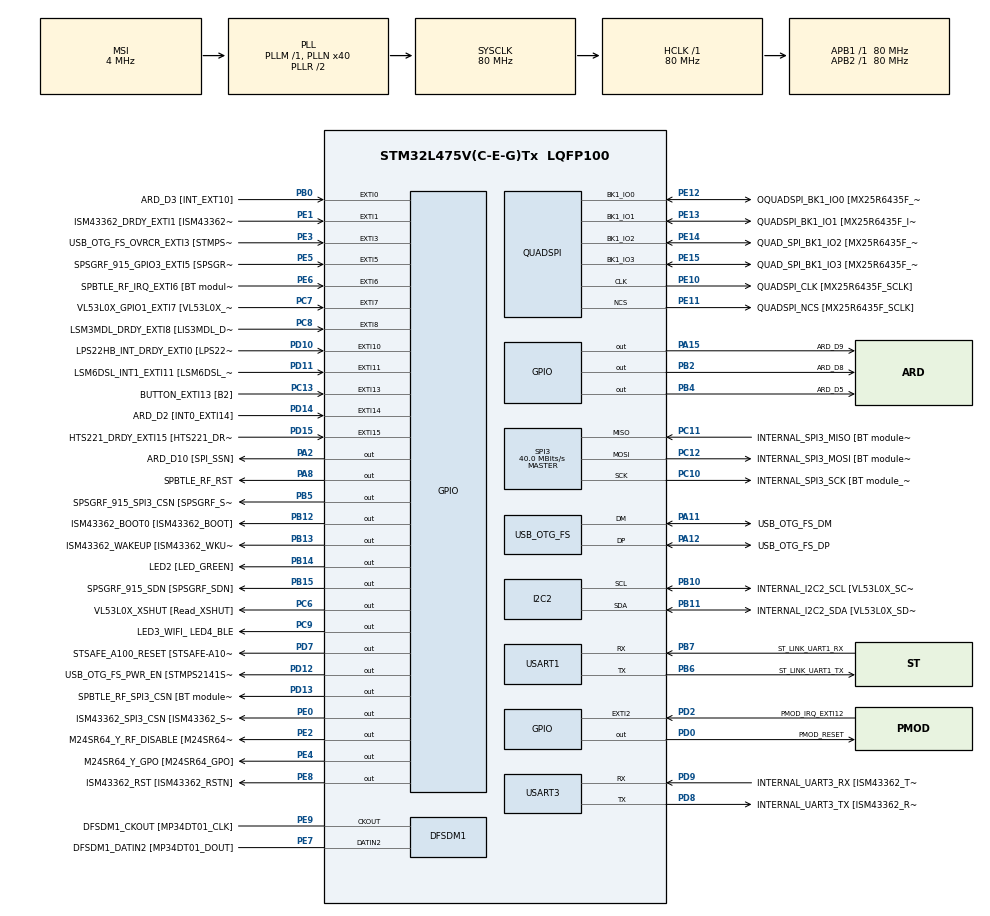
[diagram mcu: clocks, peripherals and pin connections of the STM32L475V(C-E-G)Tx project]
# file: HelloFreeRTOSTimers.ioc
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FREERTOS.Tasks01=defaultTask,0,128,StartDefaultTask,Default,NULL,Dynamic,NULL,NULL;myTask02,0,128,StartTask02,Default,NULL,Dynamic,NULL,NULL
FREERTOS.configUSE_NEWLIB_REENTRANT=1
FREERTOS.configUSE_TIMERS=1
Mcu.Family=STM32L4
Mcu.Name=STM32L475V(C-E-G)Tx
Mcu.Package=LQFP100
NVIC.EXTI15_10_IRQn=true\:5\:0\:false\:false\:true\:true\:true\:true
NVIC.EXTI9_5_IRQn=true\:5\:0\:false\:false\:true\:true\:true\:true
NVIC.PriorityGroup=NVIC_PRIORITYGROUP_4
NVIC.TIM1_UP_TIM16_IRQn=true\:15\:0\:false\:false\:true\:false\:false\:true
NVIC.TimeBase=TIM1_UP_TIM16_IRQn
NVIC.TimeBaseIP=TIM1
PA0.GPIO_Label=ARD_D1 [UART4_TX]
PA0.Signal=UART4_TX
PA1.GPIO_Label=ARD_D0 [UART4_RX]
PA1.Signal=UART4_RX
PA10.GPIO_Label=USB_OTG_FS_ID
PA10.Signal=USB_OTG_FS_ID
PA11.GPIO_Label=USB_OTG_FS_DM
PA11.Mode=Device_Only
PA11.Signal=USB_OTG_FS_DM
PA12.GPIO_Label=USB_OTG_FS_DP
PA12.Mode=Device_Only
PA12.Signal=USB_OTG_FS_DP
PA13\ (JTMS-SWDIO).GPIO_Label=SYS_JTMS_SWDIO
PA13\ (JTMS-SWDIO).Mode=Serial_Wire
PA13\ (JTMS-SWDIO).Signal=SYS_JTMS-SWDIO
PA14\ (JTCK-SWCLK).GPIO_Label=SYS_JTCK_SWCLK
PA14\ (JTCK-SWCLK).Mode=Serial_Wire
PA14\ (JTCK-SWCLK).Signal=SYS_JTCK-SWCLK
PA15\ (JTDI).GPIO_Label=ARD_D9
PA15\ (JTDI).Signal=GPIO_Output
PA2.GPIO_Label=ARD_D10 [SPI_SSN]
PA2.Signal=GPIO_Output
PA3.GPIO_Label=ARD_D4
PA3.Signal=S_TIM2_CH4
PA4.GPIO_Label=ARD_D7
PA4.Signal=ADCx_IN9
PA5.GPIO_Label=ARD_D13 [SPI1_SCK]
PA5.Signal=SPI1_SCK
PA6.GPIO_Label=ARD_D12 [SPI1_MISO]
PA6.Signal=SPI1_MISO
PA7.GPIO_Label=ARD_D11 [SPI1_MOSI]
PA7.Signal=SPI1_MOSI
PA8.GPIO_Label=SPBTLE_RF_RST
PA8.Signal=GPIO_Output
PA9.GPIO_Label=USB_OTG_FS_VBUS [STMPS2141STR_OUT]
PA9.Signal=USB_OTG_FS_VBUS
PB0.GPIO_Label=ARD_D3 [INT_EXT10]
PB0.Signal=GPXTI0
PB1.GPIO_Label=ARD_D6 [ADC1_IN6]
PB1.Signal=ADCx_IN16
PB10.GPIO_Label=INTERNAL_I2C2_SCL [VL53L0X_SCL]
PB10.GPIO_Pu=GPIO_PULLUP
PB10.Mode=I2C
PB10.Signal=I2C2_SCL
PB11.GPIO_Label=INTERNAL_I2C2_SDA [VL53L0X_SDA]
PB11.GPIO_Pu=GPIO_PULLUP
PB11.Mode=I2C
PB11.Signal=I2C2_SDA
PB12.GPIO_Label=ISM43362_BOOT0 [ISM43362_BOOT]
PB12.Signal=GPIO_Output
PB13.GPIO_Label=ISM43362_WAKEUP [ISM43362_WKUP]
PB13.Signal=GPIO_Output
PB14.GPIO_Label=LED2 [LED_GREEN]
PB14.Signal=GPIO_Output
PB15.GPIO_Label=SPSGRF_915_SDN [SPSGRF_SDN]
PB15.Signal=GPIO_Output
PB2.GPIO_Label=ARD_D8
PB2.Signal=GPIO_Output
PB3\ (JTDO-TRACESWO).GPIO_Label=SYS_JTD0_SWO
PB3\ (JTDO-TRACESWO).Signal=SYS_JTDO-SWO
PB4\ (NJTRST).GPIO_Label=ARD_D5
PB4\ (NJTRST).Signal=GPIO_Output
PB5.GPIO_Label=SPSGRF_915_SPI3_CSN [SPSGRF_SPI_CS]
PB5.PinState=GPIO_PIN_SET
PB5.Signal=GPIO_Output
PB6.GPIO_Label=ST_LINK_UART1_TX
PB6.Mode=Asynchronous
PB6.Signal=USART1_TX
PB7.GPIO_Label=ST_LINK_UART1_RX
PB7.Mode=Asynchronous
PB7.Signal=USART1_RX
PB8.GPIO_Label=ARD_D15 [I2C1_SCL]
PB8.Signal=I2C1_SCL
PB9.GPIO_Label=ARD_D14 [I2C1_SDA]
PB9.Signal=I2C1_SDA
PC0.GPIO_Label=ARD_A5 [ADC]
PC0.Signal=ADCx_IN1
PC1.GPIO_Label=ARD_A4 [ADC]
PC1.Signal=ADCx_IN2
PC10.GPIO_Label=INTERNAL_SPI3_SCK [BT module_SPI_SCLK] [ISM43362_SCK]
PC10.Mode=Full_Duplex_Master
PC10.Signal=SPI3_SCK
PC11.GPIO_Label=INTERNAL_SPI3_MISO [BT module_SPI_MISO] [ISM43362_MISO]
PC11.Mode=Full_Duplex_Master
PC11.Signal=SPI3_MISO
PC12.GPIO_Label=INTERNAL_SPI3_MOSI [BT module_SPI_MOSI] [ISM43362_MOSI]
PC12.Mode=Full_Duplex_Master
PC12.Signal=SPI3_MOSI
PC13.GPIO_Label=BUTTON_EXTI13 [B2]
PC13.GPIO_ModeDefaultEXTI=GPIO_MODE_IT_FALLING
PC13.Signal=GPXTI13
PC14-OSC32_IN\ (PC14).Mode=LSE-External-Oscillator
PC14-OSC32_IN\ (PC14).Signal=RCC_OSC32_IN
PC15-OSC32_OUT\ (PC15).Mode=LSE-External-Oscillator
PC15-OSC32_OUT\ (PC15).Signal=RCC_OSC32_OUT
PC2.GPIO_Label=ARD_A3 [ADC]
PC2.Signal=ADCx_IN3
PC3.GPIO_Label=ARD_A2 [ADC]
PC3.Signal=ADCx_IN4
PC4.GPIO_Label=ARD_A1 [ADC]
PC4.Signal=ADCx_IN13
PC5.GPIO_Label=ARD_A0 [ADC]
PC5.Signal=ADCx_IN14
PC6.GPIO_Label=VL53L0X_XSHUT [Read_XSHUT]
PC6.Signal=GPIO_Output
PC7.GPIO_Label=VL53L0X_GPIO1_EXTI7 [VL53L0X_GPIO1]
PC7.Signal=GPXTI7
PC8.GPIO_Label=LSM3MDL_DRDY_EXTI8 [LIS3MDL_DRDY]
PC8.Signal=GPXTI8
PC9.GPIO_Label=LED3_WIFI_ LED4_BLE
PC9.Signal=GPIO_Output
PD0.GPIO_Label=PMOD_RESET
PD0.Signal=GPIO_Output
PD1.GPIO_Label=PMOD_SPI2_SCK
PD1.Signal=SPI2_SCK
PD10.GPIO_Label=LPS22HB_INT_DRDY_EXTI0 [LPS22HB_INT_DRDY] 
PD10.Signal=GPXTI10
PD11.GPIO_Label=LSM6DSL_INT1_EXTI11 [LSM6DSL_INT1]
PD11.Signal=GPXTI11
PD12.GPIO_Label=USB_OTG_FS_PWR_EN [STMPS2141STR_EN]
PD12.Signal=GPIO_Output
PD13.GPIO_Label=SPBTLE_RF_SPI3_CSN [BT module_SPI_CS]
PD13.PinState=GPIO_PIN_SET
PD13.Signal=GPIO_Output
PD14.GPIO_Label=ARD_D2 [INT0_EXTI14]
PD14.Signal=GPXTI14
PD15.GPIO_Label=HTS221_DRDY_EXTI15 [HTS221_DRDY]
PD15.Signal=GPXTI15
PD2.GPIO_Label=PMOD_IRQ_EXTI12
PD2.Signal=GPXTI2
PD3.GPIO_Label=PMOD_UART2_CTS
PD3.Signal=USART2_CTS
PD4.GPIO_Label=PMOD_UART2_RTS
PD4.Signal=USART2_RTS
PD5.GPIO_Label=PMOD_UART2_TX
PD5.Signal=USART2_TX
PD6.GPIO_Label=PMOD_UART2_RX
PD6.Signal=USART2_RX
PD7.GPIO_Label=STSAFE_A100_RESET [STSAFE-A100_RESET]
PD7.Signal=GPIO_Output
PD8.GPIO_Label=INTERNAL_UART3_TX [ISM43362_RX]
PD8.Mode=Asynchronous
PD8.Signal=USART3_TX
PD9.GPIO_Label=INTERNAL_UART3_RX [ISM43362_TX]
PD9.Mode=Asynchronous
PD9.Signal=USART3_RX
PE0.GPIO_Label=ISM43362_SPI3_CSN [ISM43362_SSN]
PE0.PinState=GPIO_PIN_SET
PE0.Signal=GPIO_Output
PE1.GPIO_Label=ISM43362_DRDY_EXTI1 [ISM43362_DATARDY]
PE1.Signal=GPXTI1
PE10.GPIO_Label=QUADSPI_CLK [MX25R6435F_SCLK]
PE10.Mode=Single Bank
PE10.Signal=QUADSPI_CLK
PE11.GPIO_Label=QUADSPI_NCS [MX25R6435F_SCLK]
PE11.Mode=Single Bank
PE11.Signal=QUADSPI_NCS
PE12.GPIO_Label=OQUADSPI_BK1_IO0 [MX25R6435F_IO0]
PE12.Mode=Single Bank
PE12.Signal=QUADSPI_BK1_IO0
PE13.GPIO_Label=QUADSPI_BK1_IO1 [MX25R6435F_IO1]
PE13.Mode=Single Bank
PE13.Signal=QUADSPI_BK1_IO1
PE14.GPIO_Label=QUAD_SPI_BK1_IO2 [MX25R6435F_IO2]
PE14.Mode=Single Bank
PE14.Signal=QUADSPI_BK1_IO2
PE15.GPIO_Label=QUAD_SPI_BK1_IO3 [MX25R6435F_IO3]
PE15.Mode=Single Bank
PE15.Signal=QUADSPI_BK1_IO3
PE2.GPIO_Label=M24SR64_Y_RF_DISABLE [M24SR64_RFDIS]
PE2.Signal=GPIO_Output
PE3.GPIO_Label=USB_OTG_FS_OVRCR_EXTI3 [STMPS2141STR_FAULT]
PE3.Signal=GPXTI3
PE4.GPIO_Label=M24SR64_Y_GPO [M24SR64_GPO]
PE4.Signal=GPIO_Output
PE5.GPIO_Label=SPSGRF_915_GPIO3_EXTI5 [SPSGRF_GPIO_3]
PE5.Signal=GPXTI5
PE6.GPIO_Label=SPBTLE_RF_IRQ_EXTI6 [BT module_SPI_IRQ]
PE6.Signal=GPXTI6
PE7.GPIO_Label=DFSDM1_DATIN2 [MP34DT01_DOUT]
PE7.Signal=S_DATAIN2DFSDM1
PE8.GPIO_Label=ISM43362_RST [ISM43362_RSTN]
PE8.Signal=GPIO_Output
PE9.GPIO_Label=DFSDM1_CKOUT [MP34DT01_CLK]
PE9.Signal=S_CKOUTDFSDM1
ProjectManager.HeapSize=0x200
ProjectManager.StackSize=0x400
ProjectManager.TargetToolchain=STM32CubeIDE
QUADSPI.ClockPrescaler=2
QUADSPI.FifoThreshold=4
QUADSPI.FlashSize=23
QUADSPI.SampleShifting=QSPI_SAMPLE_SHIFTING_HALFCYCLE
RCC.ADCFreq_Value=48000000
RCC.AHBFreq_Value=80000000
RCC.APB1Freq_Value=80000000
RCC.APB1TimFreq_Value=80000000
RCC.APB2Freq_Value=80000000
RCC.APB2TimFreq_Value=80000000
RCC.CortexFreq_Value=80000000
RCC.HCLKFreq_Value=80000000
RCC.HSE_VALUE=8000000
RCC.HSI_VALUE=16000000
RCC.MSI_VALUE=4000000
RCC.PLLN=40
RCC.PLLSAI1N=24
RCC.SYSCLKFreq_VALUE=80000000
RCC.SYSCLKSource=RCC_SYSCLKSOURCE_PLLCLK
RCC.USBFreq_Value=48000000
RCC.VCOOutputFreq_Value=160000000
SH.ADCx_IN1.0=ADC1_IN1
SH.ADCx_IN13.0=ADC1_IN13
SH.ADCx_IN14.0=ADC1_IN14
SH.ADCx_IN16.0=ADC1_IN16
SH.ADCx_IN2.0=ADC1_IN2
SH.ADCx_IN3.0=ADC1_IN3
SH.ADCx_IN4.0=ADC1_IN4
SH.ADCx_IN9.0=ADC1_IN9
SH.S_CKOUTDFSDM1.0=DFSDM1_CKOUT,CKOUT
SH.S_CKOUTDFSDM1.1=DFSDM1_CKOUT,PDM_SPI_Input_from_ch12_and_Internal_Clock
SH.S_DATAIN2DFSDM1.0=DFSDM1_DATIN2,PDM_SPI_Input_from_ch12_and_Internal_Clock
SH.S_TIM2_CH4.0=TIM2_CH4
SPI3.CalculateBaudRate=40.0 MBits/s
SPI3.Direction=SPI_DIRECTION_2LINES
SPI3.Mode=SPI_MODE_MASTER
SPI3.VirtualType=VM_MASTER
USART1.VirtualMode-Asynchronous=VM_ASYNC
USART3.VirtualMode-Asynchronous=VM_ASYNC
USB_OTG_FS.VirtualMode=Device_Only
VP_FREERTOS_VS_CMSIS_V1.Mode=CMSIS_V1
VP_SYS_VS_tim1.Mode=TIM1
board=B-L475E-IOT01A1

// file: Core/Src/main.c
/* USER CODE BEGIN Header */
/**
 ******************************************************************************
 * @file           : main.c
 * @brief          : Main program body
 ******************************************************************************
 * @attention
 *
 * <h2><center>&copy; Copyright (c) 2021 STMicroelectronics.
 * All rights reserved.</center></h2>
 *
 * This software component is licensed by ST under BSD 3-Clause license,
 * the "License"; You may not use this file except in compliance with the
 * License. You may obtain a copy of the License at:
 *                        opensource.org/licenses/BSD-3-Clause
 *
 ******************************************************************************
 */
/* USER CODE END Header */
#include "main.h"
#include "cmsis_os.h"

/* USER CODE BEGIN Includes */
#include <string.h>
#include <stdio.h>
/* USER CODE END Includes */

DFSDM_Channel_HandleTypeDef hdfsdm1_channel1;

I2C_HandleTypeDef hi2c2;

QSPI_HandleTypeDef hqspi;

SPI_HandleTypeDef hspi3;

UART_HandleTypeDef huart1;
UART_HandleTypeDef huart3;

PCD_HandleTypeDef hpcd_USB_OTG_FS;

osThreadId defaultTaskHandle;
osThreadId myTask02Handle;

void SystemClock_Config(void);
static void MX_GPIO_Init(void);
static void MX_DFSDM1_Init(void);
static void MX_I2C2_Init(void);
static void MX_QUADSPI_Init(void);
static void MX_SPI3_Init(void);
static void MX_USART1_UART_Init(void);
static void MX_USART3_UART_Init(void);
static void MX_USB_OTG_FS_PCD_Init(void);
void StartDefaultTask(void const *argument);
void StartTask02(void const *argument);

/* USER CODE BEGIN PFP */
void prvMyTimerOneShot(void);
void prvMyTimerAutoReload(void);
/* USER CODE END PFP */

int main(void) {

    /* MCU Configuration--------------------------------------------------------*/

    /* Reset of all peripherals, Initializes the Flash interface and the Systick. */
    HAL_Init();

    /* Configure the system clock */
    SystemClock_Config();

    /* Initialize all configured peripherals */
    MX_GPIO_Init();
    MX_DFSDM1_Init();
    MX_I2C2_Init();
    MX_QUADSPI_Init();
    MX_SPI3_Init();
    MX_USART1_UART_Init();
    MX_USART3_UART_Init();
    MX_USB_OTG_FS_PCD_Init();

    /* USER CODE BEGIN RTOS_TIMERS */
    /* start timers, add new ones, ... */

    TimerHandle_t xOneShotTimer;
    TimerHandle_t xAutoReloadTimer;

    xOneShotTimer = xTimerCreate("My One Shot", pdMS_TO_TICKS(15000), pdFALSE,
    NULL, prvMyTimerOneShot);

    xAutoReloadTimer = xTimerCreate("My Auto Reload", pdMS_TO_TICKS(5000),
    pdTRUE, NULL, prvMyTimerAutoReload);

    // start the timers
    xTimerStart(xOneShotTimer, 0);
    xTimerStart(xAutoReloadTimer, 0);

    /* USER CODE END RTOS_TIMERS */

    /* Create the thread(s) */
    /* definition and creation of defaultTask */
    osThreadDef(defaultTask, StartDefaultTask, osPriorityNormal, 0, 128);
    defaultTaskHandle = osThreadCreate(osThread(defaultTask), NULL);

    /* definition and creation of myTask02 */
    osThreadDef(myTask02, StartTask02, osPriorityNormal, 0, 128);
    myTask02Handle = osThreadCreate(osThread(myTask02), NULL);

    /* Start scheduler */
    osKernelStart();

    /* We should never get here as control is now taken by the scheduler */
    /* Infinite loop */
    while (1) {

    }
}

void SystemClock_Config(void) {
    RCC_OscInitTypeDef RCC_OscInitStruct = { 0 };
    RCC_ClkInitTypeDef RCC_ClkInitStruct = { 0 };

    /** Configure the main internal regulator output voltage
     */
    if (HAL_PWREx_ControlVoltageScaling(PWR_REGULATOR_VOLTAGE_SCALE1) != HAL_OK) {
        Error_Handler();
    }
    /** Configure LSE Drive Capability
     */
    HAL_PWR_EnableBkUpAccess();
    __HAL_RCC_LSEDRIVE_CONFIG(RCC_LSEDRIVE_LOW);
    /** Initializes the RCC Oscillators according to the specified parameters
     * in the RCC_OscInitTypeDef structure.
     */
    RCC_OscInitStruct.OscillatorType = RCC_OSCILLATORTYPE_LSE | RCC_OSCILLATORTYPE_MSI;
    RCC_OscInitStruct.LSEState = RCC_LSE_ON;
    RCC_OscInitStruct.MSIState = RCC_MSI_ON;
    RCC_OscInitStruct.MSICalibrationValue = 0;
    RCC_OscInitStruct.MSIClockRange = RCC_MSIRANGE_6;
    RCC_OscInitStruct.PLL.PLLState = RCC_PLL_ON;
    RCC_OscInitStruct.PLL.PLLSource = RCC_PLLSOURCE_MSI;
    RCC_OscInitStruct.PLL.PLLM = 1;
    RCC_OscInitStruct.PLL.PLLN = 40;
    RCC_OscInitStruct.PLL.PLLP = RCC_PLLP_DIV7;
    RCC_OscInitStruct.PLL.PLLQ = RCC_PLLQ_DIV2;
    RCC_OscInitStruct.PLL.PLLR = RCC_PLLR_DIV2;
    if (HAL_RCC_OscConfig(&RCC_OscInitStruct) != HAL_OK) {
        Error_Handler();
    }
    /** Initializes the CPU, AHB and APB buses clocks
     */
    RCC_ClkInitStruct.ClockType = RCC_CLOCKTYPE_HCLK | RCC_CLOCKTYPE_SYSCLK | RCC_CLOCKTYPE_PCLK1 | RCC_CLOCKTYPE_PCLK2;
    RCC_ClkInitStruct.SYSCLKSource = RCC_SYSCLKSOURCE_PLLCLK;
    RCC_ClkInitStruct.AHBCLKDivider = RCC_SYSCLK_DIV1;
    RCC_ClkInitStruct.APB1CLKDivider = RCC_HCLK_DIV1;
    RCC_ClkInitStruct.APB2CLKDivider = RCC_HCLK_DIV1;

    if (HAL_RCC_ClockConfig(&RCC_ClkInitStruct, FLASH_LATENCY_4) != HAL_OK) {
        Error_Handler();
    }
    /** Enable MSI Auto calibration
     */
    HAL_RCCEx_EnableMSIPLLMode();
}

static void MX_DFSDM1_Init(void) {

    hdfsdm1_channel1.Instance = DFSDM1_Channel1;
    hdfsdm1_channel1.Init.OutputClock.Activation = ENABLE;
    hdfsdm1_channel1.Init.OutputClock.Selection =
    DFSDM_CHANNEL_OUTPUT_CLOCK_SYSTEM;
    hdfsdm1_channel1.Init.OutputClock.Divider = 2;
    hdfsdm1_channel1.Init.Input.Multiplexer = DFSDM_CHANNEL_EXTERNAL_INPUTS;
    hdfsdm1_channel1.Init.Input.DataPacking = DFSDM_CHANNEL_STANDARD_MODE;
    hdfsdm1_channel1.Init.Input.Pins = DFSDM_CHANNEL_FOLLOWING_CHANNEL_PINS;
    hdfsdm1_channel1.Init.SerialInterface.Type = DFSDM_CHANNEL_SPI_RISING;
    hdfsdm1_channel1.Init.SerialInterface.SpiClock =
    DFSDM_CHANNEL_SPI_CLOCK_INTERNAL;
    hdfsdm1_channel1.Init.Awd.FilterOrder = DFSDM_CHANNEL_FASTSINC_ORDER;
    hdfsdm1_channel1.Init.Awd.Oversampling = 1;
    hdfsdm1_channel1.Init.Offset = 0;
    hdfsdm1_channel1.Init.RightBitShift = 0x00;
    if (HAL_DFSDM_ChannelInit(&hdfsdm1_channel1) != HAL_OK) {
        Error_Handler();
    }

}

static void MX_I2C2_Init(void) {

    hi2c2.Instance = I2C2;
    hi2c2.Init.Timing = 0x00000E14;
    hi2c2.Init.OwnAddress1 = 0;
    hi2c2.Init.AddressingMode = I2C_ADDRESSINGMODE_7BIT;
    hi2c2.Init.DualAddressMode = I2C_DUALADDRESS_DISABLE;
    hi2c2.Init.OwnAddress2 = 0;
    hi2c2.Init.OwnAddress2Masks = I2C_OA2_NOMASK;
    hi2c2.Init.GeneralCallMode = I2C_GENERALCALL_DISABLE;
    hi2c2.Init.NoStretchMode = I2C_NOSTRETCH_DISABLE;
    if (HAL_I2C_Init(&hi2c2) != HAL_OK) {
        Error_Handler();
    }
    /** Configure Analogue filter
     */
    if (HAL_I2CEx_ConfigAnalogFilter(&hi2c2, I2C_ANALOGFILTER_ENABLE) != HAL_OK) {
        Error_Handler();
    }
    /** Configure Digital filter
     */
    if (HAL_I2CEx_ConfigDigitalFilter(&hi2c2, 0) != HAL_OK) {
        Error_Handler();
    }

}

static void MX_QUADSPI_Init(void) {

    /* QUADSPI parameter configuration*/
    hqspi.Instance = QUADSPI;
    hqspi.Init.ClockPrescaler = 2;
    hqspi.Init.FifoThreshold = 4;
    hqspi.Init.SampleShifting = QSPI_SAMPLE_SHIFTING_HALFCYCLE;
    hqspi.Init.FlashSize = 23;
    hqspi.Init.ChipSelectHighTime = QSPI_CS_HIGH_TIME_1_CYCLE;
    hqspi.Init.ClockMode = QSPI_CLOCK_MODE_0;
    if (HAL_QSPI_Init(&hqspi) != HAL_OK) {
        Error_Handler();
    }

}

static void MX_SPI3_Init(void) {

    /* SPI3 parameter configuration*/
    hspi3.Instance = SPI3;
    hspi3.Init.Mode = SPI_MODE_MASTER;
    hspi3.Init.Direction = SPI_DIRECTION_2LINES;
    hspi3.Init.DataSize = SPI_DATASIZE_4BIT;
    hspi3.Init.CLKPolarity = SPI_POLARITY_LOW;
    hspi3.Init.CLKPhase = SPI_PHASE_1EDGE;
    hspi3.Init.NSS = SPI_NSS_SOFT;
    hspi3.Init.BaudRatePrescaler = SPI_BAUDRATEPRESCALER_2;
    hspi3.Init.FirstBit = SPI_FIRSTBIT_MSB;
    hspi3.Init.TIMode = SPI_TIMODE_DISABLE;
    hspi3.Init.CRCCalculation = SPI_CRCCALCULATION_DISABLE;
    hspi3.Init.CRCPolynomial = 7;
    hspi3.Init.CRCLength = SPI_CRC_LENGTH_DATASIZE;
    hspi3.Init.NSSPMode = SPI_NSS_PULSE_ENABLE;
    if (HAL_SPI_Init(&hspi3) != HAL_OK) {
        Error_Handler();
    }

}

static void MX_USART1_UART_Init(void) {

    huart1.Instance = USART1;
    huart1.Init.BaudRate = 115200;
    huart1.Init.WordLength = UART_WORDLENGTH_8B;
    huart1.Init.StopBits = UART_STOPBITS_1;
    huart1.Init.Parity = UART_PARITY_NONE;
    huart1.Init.Mode = UART_MODE_TX_RX;
    huart1.Init.HwFlowCtl = UART_HWCONTROL_NONE;
    huart1.Init.OverSampling = UART_OVERSAMPLING_16;
    huart1.Init.OneBitSampling = UART_ONE_BIT_SAMPLE_DISABLE;
    huart1.AdvancedInit.AdvFeatureInit = UART_ADVFEATURE_NO_INIT;
    if (HAL_UART_Init(&huart1) != HAL_OK) {
        Error_Handler();
    }

}

static void MX_USART3_UART_Init(void) {

    huart3.Instance = USART3;
    huart3.Init.BaudRate = 115200;
    huart3.Init.WordLength = UART_WORDLENGTH_8B;
    huart3.Init.StopBits = UART_STOPBITS_1;
    huart3.Init.Parity = UART_PARITY_NONE;
    huart3.Init.Mode = UART_MODE_TX_RX;
    huart3.Init.HwFlowCtl = UART_HWCONTROL_NONE;
    huart3.Init.OverSampling = UART_OVERSAMPLING_16;
    huart3.Init.OneBitSampling = UART_ONE_BIT_SAMPLE_DISABLE;
    huart3.AdvancedInit.AdvFeatureInit = UART_ADVFEATURE_NO_INIT;
    if (HAL_UART_Init(&huart3) != HAL_OK) {
        Error_Handler();
    }

}

static void MX_USB_OTG_FS_PCD_Init(void) {

    hpcd_USB_OTG_FS.Instance = USB_OTG_FS;
    hpcd_USB_OTG_FS.Init.dev_endpoints = 6;
    hpcd_USB_OTG_FS.Init.speed = PCD_SPEED_FULL;
    hpcd_USB_OTG_FS.Init.phy_itface = PCD_PHY_EMBEDDED;
    hpcd_USB_OTG_FS.Init.Sof_enable = DISABLE;
    hpcd_USB_OTG_FS.Init.low_power_enable = DISABLE;
    hpcd_USB_OTG_FS.Init.lpm_enable = DISABLE;
    hpcd_USB_OTG_FS.Init.battery_charging_enable = DISABLE;
    hpcd_USB_OTG_FS.Init.use_dedicated_ep1 = DISABLE;
    hpcd_USB_OTG_FS.Init.vbus_sensing_enable = DISABLE;
    if (HAL_PCD_Init(&hpcd_USB_OTG_FS) != HAL_OK) {
        Error_Handler();
    }

}

static void MX_GPIO_Init(void) {
    GPIO_InitTypeDef GPIO_InitStruct = { 0 };

    /* GPIO Ports Clock Enable */
    __HAL_RCC_GPIOE_CLK_ENABLE();
    __HAL_RCC_GPIOC_CLK_ENABLE();
    __HAL_RCC_GPIOA_CLK_ENABLE();
    __HAL_RCC_GPIOB_CLK_ENABLE();
    __HAL_RCC_GPIOD_CLK_ENABLE();

    /*Configure GPIO pin Output Level */
    HAL_GPIO_WritePin(GPIOE,
    M24SR64_Y_RF_DISABLE_Pin | M24SR64_Y_GPO_Pin | ISM43362_RST_Pin, GPIO_PIN_RESET);

    /*Configure GPIO pin Output Level */
    HAL_GPIO_WritePin(GPIOA, ARD_D10_Pin | SPBTLE_RF_RST_Pin | ARD_D9_Pin, GPIO_PIN_RESET);

    /*Configure GPIO pin Output Level */
    HAL_GPIO_WritePin(GPIOB,
    ARD_D8_Pin | ISM43362_BOOT0_Pin | ISM43362_WAKEUP_Pin | LED2_Pin | SPSGRF_915_SDN_Pin | ARD_D5_Pin, GPIO_PIN_RESET);

    /*Configure GPIO pin Output Level */
    HAL_GPIO_WritePin(GPIOD,
    USB_OTG_FS_PWR_EN_Pin | PMOD_RESET_Pin | STSAFE_A100_RESET_Pin, GPIO_PIN_RESET);

    /*Configure GPIO pin Output Level */
    HAL_GPIO_WritePin(SPBTLE_RF_SPI3_CSN_GPIO_Port, SPBTLE_RF_SPI3_CSN_Pin, GPIO_PIN_SET);

    /*Configure GPIO pin Output Level */
    HAL_GPIO_WritePin(GPIOC, VL53L0X_XSHUT_Pin | LED3_WIFI__LED4_BLE_Pin, GPIO_PIN_RESET);

    /*Configure GPIO pin Output Level */
    HAL_GPIO_WritePin(SPSGRF_915_SPI3_CSN_GPIO_Port, SPSGRF_915_SPI3_CSN_Pin, GPIO_PIN_SET);

    /*Configure GPIO pin Output Level */
    HAL_GPIO_WritePin(ISM43362_SPI3_CSN_GPIO_Port, ISM43362_SPI3_CSN_Pin, GPIO_PIN_SET);

    /*Configure GPIO pins : M24SR64_Y_RF_DISABLE_Pin M24SR64_Y_GPO_Pin ISM43362_RST_Pin ISM43362_SPI3_CSN_Pin */
    GPIO_InitStruct.Pin = M24SR64_Y_RF_DISABLE_Pin | M24SR64_Y_GPO_Pin | ISM43362_RST_Pin | ISM43362_SPI3_CSN_Pin;
    GPIO_InitStruct.Mode = GPIO_MODE_OUTPUT_PP;
    GPIO_InitStruct.Pull = GPIO_NOPULL;
    GPIO_InitStruct.Speed = GPIO_SPEED_FREQ_LOW;
    HAL_GPIO_Init(GPIOE, &GPIO_InitStruct);

    /*Configure GPIO pins : USB_OTG_FS_OVRCR_EXTI3_Pin SPSGRF_915_GPIO3_EXTI5_Pin SPBTLE_RF_IRQ_EXTI6_Pin ISM43362_DRDY_EXTI1_Pin */
    GPIO_InitStruct.Pin = USB_OTG_FS_OVRCR_EXTI3_Pin | SPSGRF_915_GPIO3_EXTI5_Pin | SPBTLE_RF_IRQ_EXTI6_Pin
            | ISM43362_DRDY_EXTI1_Pin;
    GPIO_InitStruct.Mode = GPIO_MODE_IT_RISING;
    GPIO_InitStruct.Pull = GPIO_NOPULL;
    HAL_GPIO_Init(GPIOE, &GPIO_InitStruct);

    /*Configure GPIO pin : BUTTON_EXTI13_Pin */
    GPIO_InitStruct.Pin = BUTTON_EXTI13_Pin;
    GPIO_InitStruct.Mode = GPIO_MODE_IT_FALLING;
    GPIO_InitStruct.Pull = GPIO_NOPULL;
    HAL_GPIO_Init(BUTTON_EXTI13_GPIO_Port, &GPIO_InitStruct);

    /*Configure GPIO pins : ARD_A5_Pin ARD_A4_Pin ARD_A3_Pin ARD_A2_Pin
     ARD_A1_Pin ARD_A0_Pin */
    GPIO_InitStruct.Pin = ARD_A5_Pin | ARD_A4_Pin | ARD_A3_Pin | ARD_A2_Pin | ARD_A1_Pin | ARD_A0_Pin;
    GPIO_InitStruct.Mode = GPIO_MODE_ANALOG_ADC_CONTROL;
    GPIO_InitStruct.Pull = GPIO_NOPULL;
    HAL_GPIO_Init(GPIOC, &GPIO_InitStruct);

    /*Configure GPIO pins : ARD_D1_Pin ARD_D0_Pin */
    GPIO_InitStruct.Pin = ARD_D1_Pin | ARD_D0_Pin;
    GPIO_InitStruct.Mode = GPIO_MODE_AF_PP;
    GPIO_InitStruct.Pull = GPIO_NOPULL;
    GPIO_InitStruct.Speed = GPIO_SPEED_FREQ_VERY_HIGH;
    GPIO_InitStruct.Alternate = GPIO_AF8_UART4;
    HAL_GPIO_Init(GPIOA, &GPIO_InitStruct);

    /*Configure GPIO pins : ARD_D10_Pin SPBTLE_RF_RST_Pin ARD_D9_Pin */
    GPIO_InitStruct.Pin = ARD_D10_Pin | SPBTLE_RF_RST_Pin | ARD_D9_Pin;
    GPIO_InitStruct.Mode = GPIO_MODE_OUTPUT_PP;
    GPIO_InitStruct.Pull = GPIO_NOPULL;
    GPIO_InitStruct.Speed = GPIO_SPEED_FREQ_LOW;
    HAL_GPIO_Init(GPIOA, &GPIO_InitStruct);

    /*Configure GPIO pin : ARD_D4_Pin */
    GPIO_InitStruct.Pin = ARD_D4_Pin;
    GPIO_InitStruct.Mode = GPIO_MODE_AF_PP;
    GPIO_InitStruct.Pull = GPIO_NOPULL;
    GPIO_InitStruct.Speed = GPIO_SPEED_FREQ_LOW;
    GPIO_InitStruct.Alternate = GPIO_AF1_TIM2;
    HAL_GPIO_Init(ARD_D4_GPIO_Port, &GPIO_InitStruct);

    /*Configure GPIO pin : ARD_D7_Pin */
    GPIO_InitStruct.Pin = ARD_D7_Pin;
    GPIO_InitStruct.Mode = GPIO_MODE_ANALOG_ADC_CONTROL;
    GPIO_InitStruct.Pull = GPIO_NOPULL;
    HAL_GPIO_Init(ARD_D7_GPIO_Port, &GPIO_InitStruct);

    /*Configure GPIO pins : ARD_D13_Pin ARD_D12_Pin ARD_D11_Pin */
    GPIO_InitStruct.Pin = ARD_D13_Pin | ARD_D12_Pin | ARD_D11_Pin;
    GPIO_InitStruct.Mode = GPIO_MODE_AF_PP;
    GPIO_InitStruct.Pull = GPIO_NOPULL;
    GPIO_InitStruct.Speed = GPIO_SPEED_FREQ_VERY_HIGH;
    GPIO_InitStruct.Alternate = GPIO_AF5_SPI1;
    HAL_GPIO_Init(GPIOA, &GPIO_InitStruct);

    /*Configure GPIO pin : ARD_D3_Pin */
    GPIO_InitStruct.Pin = ARD_D3_Pin;
    GPIO_InitStruct.Mode = GPIO_MODE_IT_RISING;
    GPIO_InitStruct.Pull = GPIO_NOPULL;
    HAL_GPIO_Init(ARD_D3_GPIO_Port, &GPIO_InitStruct);

    /*Configure GPIO pin : ARD_D6_Pin */
    GPIO_InitStruct.Pin = ARD_D6_Pin;
    GPIO_InitStruct.Mode = GPIO_MODE_ANALOG_ADC_CONTROL;
    GPIO_InitStruct.Pull = GPIO_NOPULL;
    HAL_GPIO_Init(ARD_D6_GPIO_Port, &GPIO_InitStruct);

    /*Configure GPIO pins : ARD_D8_Pin ISM43362_BOOT0_Pin ISM43362_WAKEUP_Pin LED2_Pin
     SPSGRF_915_SDN_Pin ARD_D5_Pin SPSGRF_915_SPI3_CSN_Pin */
    GPIO_InitStruct.Pin = ARD_D8_Pin | ISM43362_BOOT0_Pin | ISM43362_WAKEUP_Pin | LED2_Pin | SPSGRF_915_SDN_Pin
            | ARD_D5_Pin | SPSGRF_915_SPI3_CSN_Pin;
    GPIO_InitStruct.Mode = GPIO_MODE_OUTPUT_PP;
    GPIO_InitStruct.Pull = GPIO_NOPULL;
    GPIO_InitStruct.Speed = GPIO_SPEED_FREQ_LOW;
    HAL_GPIO_Init(GPIOB, &GPIO_InitStruct);

    /*Configure GPIO pins : LPS22HB_INT_DRDY_EXTI0_Pin LSM6DSL_INT1_EXTI11_Pin ARD_D2_Pin HTS221_DRDY_EXTI15_Pin
     PMOD_IRQ_EXTI12_Pin */
    GPIO_InitStruct.Pin = LPS22HB_INT_DRDY_EXTI0_Pin | LSM6DSL_INT1_EXTI11_Pin | ARD_D2_Pin | HTS221_DRDY_EXTI15_Pin
            | PMOD_IRQ_EXTI12_Pin;
    GPIO_InitStruct.Mode = GPIO_MODE_IT_RISING;
    GPIO_InitStruct.Pull = GPIO_NOPULL;
    HAL_GPIO_Init(GPIOD, &GPIO_InitStruct);

    /*Configure GPIO pins : USB_OTG_FS_PWR_EN_Pin SPBTLE_RF_SPI3_CSN_Pin PMOD_RESET_Pin STSAFE_A100_RESET_Pin */
    GPIO_InitStruct.Pin = USB_OTG_FS_PWR_EN_Pin | SPBTLE_RF_SPI3_CSN_Pin | PMOD_RESET_Pin | STSAFE_A100_RESET_Pin;
    GPIO_InitStruct.Mode = GPIO_MODE_OUTPUT_PP;
    GPIO_InitStruct.Pull = GPIO_NOPULL;
    GPIO_InitStruct.Speed = GPIO_SPEED_FREQ_LOW;
    HAL_GPIO_Init(GPIOD, &GPIO_InitStruct);

    /*Configure GPIO pins : VL53L0X_XSHUT_Pin LED3_WIFI__LED4_BLE_Pin */
    GPIO_InitStruct.Pin = VL53L0X_XSHUT_Pin | LED3_WIFI__LED4_BLE_Pin;
    GPIO_InitStruct.Mode = GPIO_MODE_OUTPUT_PP;
    GPIO_InitStruct.Pull = GPIO_NOPULL;
    GPIO_InitStruct.Speed = GPIO_SPEED_FREQ_LOW;
    HAL_GPIO_Init(GPIOC, &GPIO_InitStruct);

    /*Configure GPIO pins : VL53L0X_GPIO1_EXTI7_Pin LSM3MDL_DRDY_EXTI8_Pin */
    GPIO_InitStruct.Pin = VL53L0X_GPIO1_EXTI7_Pin | LSM3MDL_DRDY_EXTI8_Pin;
    GPIO_InitStruct.Mode = GPIO_MODE_IT_RISING;
    GPIO_InitStruct.Pull = GPIO_NOPULL;
    HAL_GPIO_Init(GPIOC, &GPIO_InitStruct);

    /*Configure GPIO pin : PMOD_SPI2_SCK_Pin */
    GPIO_InitStruct.Pin = PMOD_SPI2_SCK_Pin;
    GPIO_InitStruct.Mode = GPIO_MODE_AF_PP;
    GPIO_InitStruct.Pull = GPIO_NOPULL;
    GPIO_InitStruct.Speed = GPIO_SPEED_FREQ_VERY_HIGH;
    GPIO_InitStruct.Alternate = GPIO_AF5_SPI2;
    HAL_GPIO_Init(PMOD_SPI2_SCK_GPIO_Port, &GPIO_InitStruct);

    /*Configure GPIO pins : PMOD_UART2_CTS_Pin PMOD_UART2_RTS_Pin PMOD_UART2_TX_Pin PMOD_UART2_RX_Pin */
    GPIO_InitStruct.Pin = PMOD_UART2_CTS_Pin | PMOD_UART2_RTS_Pin | PMOD_UART2_TX_Pin | PMOD_UART2_RX_Pin;
    GPIO_InitStruct.Mode = GPIO_MODE_AF_PP;
    GPIO_InitStruct.Pull = GPIO_NOPULL;
    GPIO_InitStruct.Speed = GPIO_SPEED_FREQ_VERY_HIGH;
    GPIO_InitStruct.Alternate = GPIO_AF7_USART2;
    HAL_GPIO_Init(GPIOD, &GPIO_InitStruct);

    /*Configure GPIO pins : ARD_D15_Pin ARD_D14_Pin */
    GPIO_InitStruct.Pin = ARD_D15_Pin | ARD_D14_Pin;
    GPIO_InitStruct.Mode = GPIO_MODE_AF_OD;
    GPIO_InitStruct.Pull = GPIO_NOPULL;
    GPIO_InitStruct.Speed = GPIO_SPEED_FREQ_VERY_HIGH;
    GPIO_InitStruct.Alternate = GPIO_AF4_I2C1;
    HAL_GPIO_Init(GPIOB, &GPIO_InitStruct);

    /* EXTI interrupt init*/
    HAL_NVIC_SetPriority(EXTI9_5_IRQn, 5, 0);
    HAL_NVIC_EnableIRQ(EXTI9_5_IRQn);

    HAL_NVIC_SetPriority(EXTI15_10_IRQn, 5, 0);
    HAL_NVIC_EnableIRQ(EXTI15_10_IRQn);

}

/* USER CODE BEGIN 4 */
void prvMyTimerOneShot(void) {
    char buff[100];

    snprintf(buff, sizeof(buff), "prvMyTimerOneShot\r\n");
    HAL_UART_Transmit(&huart1, (uint8_t*) buff, strlen(buff), 1000);
}

void prvMyTimerAutoReload(void) {
    static int count = 0;
    char buff[100];

    snprintf(buff, sizeof(buff), "prvMyTimerAutoReload: %d\r\n", count);
    HAL_UART_Transmit(&huart1, (uint8_t*) buff, strlen(buff), 1000);
    count++;
}
/* USER CODE END 4 */

void StartDefaultTask(void const *argument) {
    /* USER CODE BEGIN 5 */
    /* Infinite loop */
    for (;;) {
        HAL_GPIO_TogglePin(LED2_GPIO_Port, LED2_Pin);
        osDelay(1000);
    }
    /* USER CODE END 5 */
}

void StartTask02(void const *argument) {
    /* USER CODE BEGIN StartTask02 */
    /* Infinite loop */
    for (;;) {
        HAL_GPIO_TogglePin(LED3_WIFI__LED4_BLE_GPIO_Port,
        LED3_WIFI__LED4_BLE_Pin);
        osDelay(2000);
    }
    /* USER CODE END StartTask02 */
}

void HAL_TIM_PeriodElapsedCallback(TIM_HandleTypeDef *htim) {
    if (htim->Instance == TIM1) {
        HAL_IncTick();
    }
}

void Error_Handler(void) {
    __disable_irq();
    while (1) {
    }
}

/************************ (C) COPYRIGHT STMicroelectronics *****END OF FILE****/
